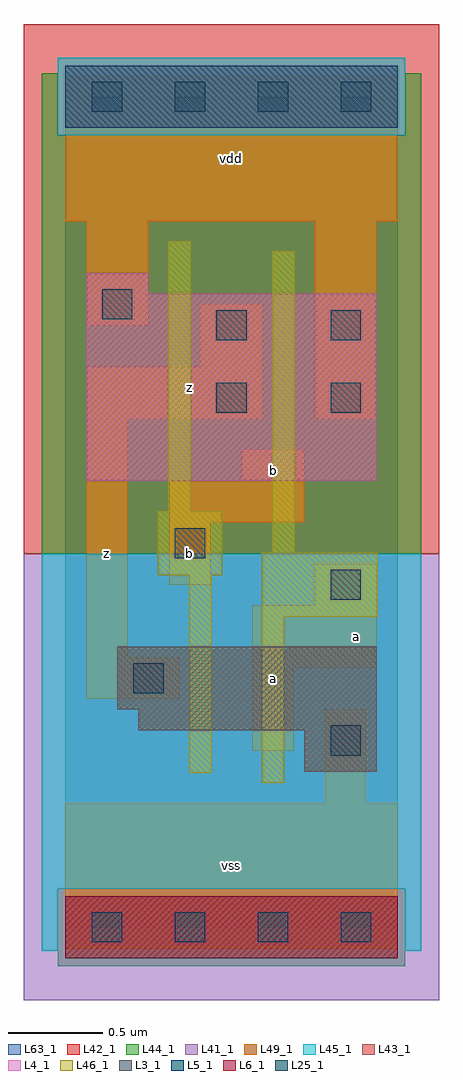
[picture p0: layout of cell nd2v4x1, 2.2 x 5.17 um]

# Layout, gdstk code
import gdstk
lib = gdstk.Library(unit=1e-6, precision=1e-09)
def R(c, l, rs):  # rectangles x0, y0, x1, y1
    for r in rs: c.add(gdstk.rectangle(r[:2], r[2:], *l))
def A(c, l, x, y, w, h, nx, ny, dx, dy):  # array of equal rectangles
    R(c, l, [(x+i*dx, y+j*dy, x+i*dx+w, y+j*dy+h) for i in range(nx) for j in range(ny)])
L3_1 = (3, 1)
L4_1 = (4, 1)
L5_1 = (5, 1)
L6_1 = (6, 1)
L25_1 = (25, 1)
L41_1 = (41, 1)
L42_1 = (42, 1)
L43_1 = (43, 1)
L44_1 = (44, 1)
L45_1 = (45, 1)
L46_1 = (46, 1)
L49_1 = (49, 1)
L63_1 = (63, 1)

nd2v4x1 = lib.new_cell('nd2v4x1')
R(nd2v4x1, L3_1, [(1.265,0.825,1.65,1.045), (0.385,1.045,1.65,1.155), (0.275,1.155,1.65,1.485)])
R(nd2v4x1, L4_1, [(0.11,2.365,1.65,3.355), (0.11,3.355,0.44,3.465)])
R(nd2v4x1, L5_1, [(0,4.235,1.76,4.565)])
R(nd2v4x1, L6_1, [(0,-0.165,1.76,0.165)])
A(nd2v4x1, L25_1, 0.14, -0.08, 0.16, 0.16, 4, 2, 0.44, 4.4)
R(nd2v4x1, L25_1, [(1.405,0.91,1.565,1.07), (0.36,1.24,0.52,1.4), (1.405,1.735,1.565,1.895), (0.58,1.955,0.74,2.115), (0.8,2.725,0.96,2.885), (1.405,2.725,1.565,2.885), (0.8,3.11,0.96,3.27), (1.405,3.11,1.565,3.27), (0.195,3.22,0.355,3.38)])
R(nd2v4x1, L41_1, [(-0.22,-0.385,1.98,1.98)])
R(nd2v4x1, L42_1, [(-0.22,1.98,1.98,4.785)])
R(nd2v4x1, L43_1, [(0,-0.165,1.76,0.165), (1.265,0.825,1.65,1.045), (0.385,1.045,1.65,1.155), (0.275,1.155,1.65,1.485), (0.11,2.365,1.65,3.355), (0.11,3.355,0.44,3.465), (0,4.235,1.76,4.565)])
R(nd2v4x1, L44_1, [(-0.04,-0.205,1.8,0.205), (-0.125,1.98,1.885,4.195), (-0.125,4.195,-0.04,4.525), (1.8,4.195,1.885,4.525)])
R(nd2v4x1, L45_1, [(-0.125,-0.125,-0.04,0.205), (1.8,-0.125,1.885,0.205), (-0.125,0.205,1.885,1.98), (-0.04,4.195,1.8,4.605)])
R(nd2v4x1, L46_1, [(1.04,0.765,1.16,1.645), (0.655,0.82,0.775,1.865), (1.04,1.645,1.655,1.985), (0.49,1.865,0.83,2.205), (1.095,1.985,1.215,3.58), (0.545,2.205,0.665,3.635)])
R(nd2v4x1, L49_1, [(0,-0.11,1.76,0.66), (1.375,0.66,1.595,1.155), (0.99,0.935,1.21,1.375), (0.11,1.21,0.605,1.43), (0.99,1.375,1.65,1.705), (0.11,1.43,0.33,2.695), (1.32,1.705,1.65,1.925), (0.55,1.815,0.77,2.145), (0.55,2.145,1.265,2.365), (0.935,2.365,1.265,2.53), (0.11,2.695,1.045,2.97), (1.32,2.695,1.65,3.74), (0.715,2.97,1.045,3.3), (0.11,3.19,0.44,3.74), (0,3.74,1.76,4.51)])
R(nd2v4x1, L63_1, [(0,0,1.76,4.4)])
nd2v4x1.add(gdstk.Label('z', (0.22,1.98), layer=49, texttype=1))
nd2v4x1.add(gdstk.Label('b', (0.66,1.98), layer=49, texttype=1))
nd2v4x1.add(gdstk.Label('z', (0.66,2.86), layer=49, texttype=1))
nd2v4x1.add(gdstk.Label('vss', (0.88,0.33), layer=49, texttype=1))
nd2v4x1.add(gdstk.Label('a', (1.1,1.32), layer=49, texttype=1))
nd2v4x1.add(gdstk.Label('b', (1.1,2.42), layer=49, texttype=1))
nd2v4x1.add(gdstk.Label('vdd', (0.88,4.07), layer=49, texttype=1))
nd2v4x1.add(gdstk.Label('a', (1.54,1.54), layer=49, texttype=1))

lib.write_gds('nd2v4x1.gds')
